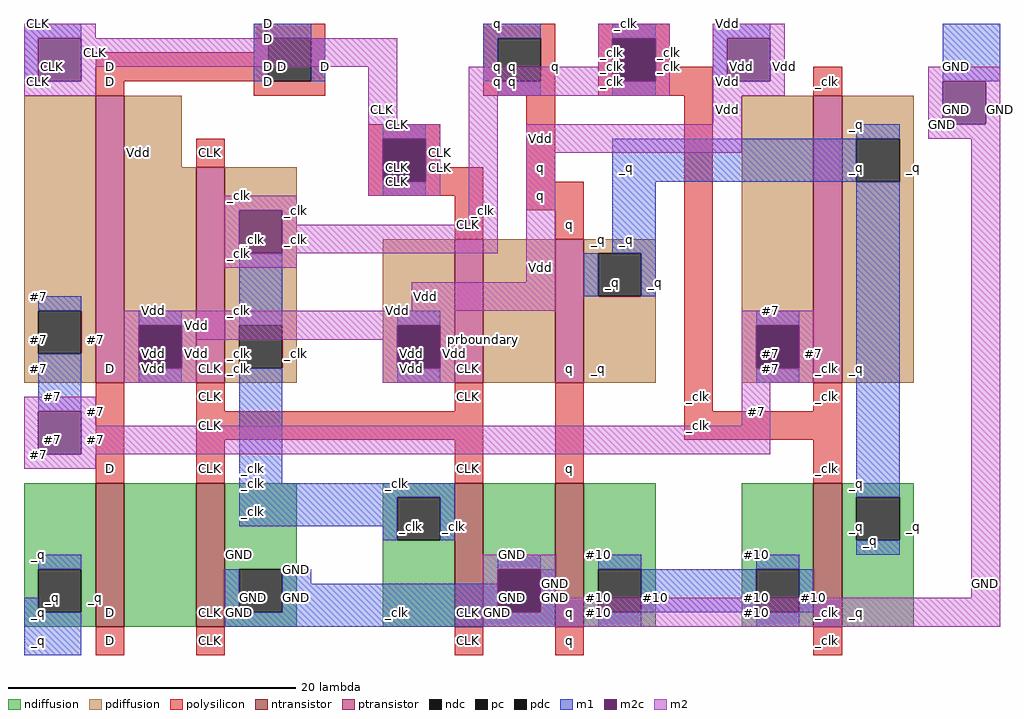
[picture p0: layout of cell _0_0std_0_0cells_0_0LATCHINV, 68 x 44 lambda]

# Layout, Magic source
magic
tech sky130l
<< ndiffusion >>
rect 8 10 13 16
rect 8 7 9 10
rect 12 7 13 10
rect 8 6 13 7
rect 15 6 20 16
rect 22 10 27 16
rect 22 7 23 10
rect 26 7 27 10
rect 22 6 27 7
rect 33 15 38 16
rect 33 12 34 15
rect 37 12 38 15
rect 33 6 38 12
rect 40 10 45 16
rect 40 7 41 10
rect 44 7 45 10
rect 40 6 45 7
rect 47 10 52 16
rect 47 7 48 10
rect 51 7 52 10
rect 47 6 52 7
rect 58 10 63 16
rect 58 7 59 10
rect 62 7 63 10
rect 58 6 63 7
rect 65 15 70 16
rect 65 12 66 15
rect 69 12 70 15
rect 65 6 70 12
<< ndc >>
rect 9 7 12 10
rect 23 7 26 10
rect 34 12 37 15
rect 41 7 44 10
rect 48 7 51 10
rect 59 7 62 10
rect 66 12 69 15
<< ntransistor >>
rect 13 6 15 16
rect 20 6 22 16
rect 38 6 40 16
rect 45 6 47 16
rect 63 6 65 16
<< pdiffusion >>
rect 8 28 13 43
rect 8 25 9 28
rect 12 25 13 28
rect 8 23 13 25
rect 15 38 19 43
rect 15 27 20 38
rect 15 24 16 27
rect 19 24 20 27
rect 15 23 20 24
rect 22 27 27 38
rect 22 24 23 27
rect 26 24 27 27
rect 22 23 27 24
rect 33 27 38 33
rect 33 24 34 27
rect 37 24 38 27
rect 33 23 38 24
rect 40 23 45 33
rect 47 32 52 33
rect 47 29 48 32
rect 51 29 52 32
rect 47 23 52 29
rect 58 27 63 43
rect 58 24 59 27
rect 62 24 63 27
rect 58 23 63 24
rect 65 40 70 43
rect 65 37 66 40
rect 69 37 70 40
rect 65 23 70 37
<< pdc >>
rect 9 25 12 28
rect 16 24 19 27
rect 23 24 26 27
rect 34 24 37 27
rect 48 29 51 32
rect 59 24 62 27
rect 66 37 69 40
<< ptransistor >>
rect 13 23 15 43
rect 20 23 22 38
rect 38 23 40 33
rect 45 23 47 33
rect 63 23 65 43
<< polysilicon >>
rect 24 47 29 48
rect 24 46 25 47
rect 13 44 25 46
rect 28 44 29 47
rect 13 43 15 44
rect 24 43 29 44
rect 40 47 45 48
rect 40 44 41 47
rect 44 44 45 47
rect 40 43 45 44
rect 48 47 53 48
rect 48 44 49 47
rect 52 45 53 47
rect 52 44 56 45
rect 48 43 56 44
rect 63 43 65 45
rect 32 40 37 41
rect 20 38 22 40
rect 32 37 33 40
rect 36 38 37 40
rect 36 37 40 38
rect 32 36 40 37
rect 38 33 40 36
rect 43 37 45 43
rect 43 35 47 37
rect 45 33 47 35
rect 13 16 15 23
rect 20 21 22 23
rect 38 21 40 23
rect 20 19 40 21
rect 20 16 22 19
rect 38 16 40 19
rect 45 16 47 23
rect 54 21 56 43
rect 63 21 65 23
rect 54 19 65 21
rect 63 16 65 19
rect 13 4 15 6
rect 20 4 22 6
rect 38 4 40 6
rect 45 4 47 6
rect 63 4 65 6
<< pc >>
rect 25 44 28 47
rect 41 44 44 47
rect 49 44 52 47
rect 33 37 36 40
<< m1 >>
rect 8 47 12 48
rect 8 44 9 47
rect 24 47 28 48
rect 40 47 44 48
rect 24 44 25 47
rect 28 44 29 47
rect 40 44 41 47
rect 41 43 44 44
rect 49 47 52 48
rect 56 47 60 48
rect 56 44 57 47
rect 72 44 76 48
rect 49 43 52 44
rect 33 40 36 41
rect 66 40 69 41
rect 33 36 36 37
rect 49 37 66 40
rect 49 32 52 37
rect 9 28 12 29
rect 9 21 12 25
rect 16 27 19 28
rect 16 23 19 24
rect 23 27 26 32
rect 47 29 48 32
rect 51 29 52 32
rect 23 16 26 24
rect 34 27 37 28
rect 34 23 37 24
rect 59 27 62 28
rect 59 23 62 24
rect 23 15 38 16
rect 23 13 34 15
rect 33 12 34 13
rect 37 12 38 15
rect 66 15 69 37
rect 66 11 69 12
rect 9 10 12 11
rect 41 10 44 11
rect 48 10 51 11
rect 59 10 62 11
rect 8 7 9 8
rect 8 4 12 7
rect 22 7 23 10
rect 26 9 28 10
rect 26 7 41 9
rect 44 7 45 10
rect 22 6 45 7
rect 51 7 59 10
rect 62 7 63 10
rect 48 6 51 7
rect 59 6 62 7
<< m2c >>
rect 9 44 12 47
rect 49 44 52 47
rect 57 44 60 47
rect 72 41 75 44
rect 33 37 36 40
rect 23 32 26 35
rect 16 24 19 27
rect 9 18 12 21
rect 34 24 37 27
rect 59 24 62 27
rect 41 7 44 10
<< m2 >>
rect 8 47 13 48
rect 48 47 53 48
rect 8 44 9 47
rect 12 45 34 47
rect 48 45 49 47
rect 12 44 13 45
rect 8 43 13 44
rect 32 41 34 45
rect 39 44 49 45
rect 52 44 53 47
rect 39 43 53 44
rect 56 47 61 48
rect 56 44 57 47
rect 60 44 61 47
rect 56 43 61 44
rect 71 44 76 45
rect 32 40 37 41
rect 32 37 33 40
rect 36 37 37 40
rect 32 36 37 37
rect 22 35 27 36
rect 22 32 23 35
rect 26 34 27 35
rect 39 34 41 43
rect 56 41 58 43
rect 26 32 41 34
rect 43 39 58 41
rect 71 41 72 44
rect 75 41 76 44
rect 71 40 76 41
rect 22 31 27 32
rect 43 30 45 39
rect 35 28 45 30
rect 15 27 38 28
rect 15 24 16 27
rect 19 26 34 27
rect 19 24 20 26
rect 15 23 20 24
rect 33 24 34 26
rect 37 24 38 27
rect 33 23 38 24
rect 58 27 63 28
rect 58 24 59 27
rect 62 24 63 27
rect 58 23 63 24
rect 8 21 13 22
rect 8 18 9 21
rect 12 20 13 21
rect 58 20 60 23
rect 12 18 60 20
rect 8 17 13 18
rect 40 10 45 11
rect 40 7 41 10
rect 44 8 45 10
rect 74 8 76 40
rect 44 7 76 8
rect 40 6 76 7
<< labels >>
rlabel space 0 0 80 52 6 prboundary
rlabel pdiffusion 70 38 70 38 3 _q
rlabel polysilicon 64 44 64 44 3 _clk
rlabel polysilicon 53 46 53 46 3 _clk
rlabel ndiffusion 70 13 70 13 3 _q
rlabel pdiffusion 66 24 66 24 3 _q
rlabel pdiffusion 66 38 66 38 3 _q
rlabel pdiffusion 66 41 66 41 3 _q
rlabel polysilicon 64 22 64 22 3 _clk
rlabel ptransistor 64 24 64 24 3 _clk
rlabel polysilicon 49 44 49 44 3 _clk
rlabel polysilicon 49 45 49 45 3 _clk
rlabel ndiffusion 66 7 66 7 3 _q
rlabel ndiffusion 66 13 66 13 3 _q
rlabel ndiffusion 66 16 66 16 3 _q
rlabel ndiffusion 59 8 59 8 3 #10
rlabel polysilicon 64 17 64 17 3 _clk
rlabel polysilicon 45 45 45 45 3 q
rlabel ntransistor 64 7 64 7 3 _clk
rlabel polysilicon 46 34 46 34 3 q
rlabel ndiffusion 59 7 59 7 3 #10
rlabel ndiffusion 59 11 59 11 3 #10
rlabel polysilicon 55 20 55 20 3 _clk
rlabel polysilicon 55 22 55 22 3 _clk
rlabel pdiffusion 48 24 48 24 3 _q
rlabel pdiffusion 48 33 48 33 3 _q
rlabel polysilicon 44 36 44 36 3 q
rlabel polysilicon 44 38 44 38 3 q
rlabel polysilicon 41 44 41 44 3 q
rlabel polysilicon 46 17 46 17 3 q
rlabel ptransistor 46 24 46 24 3 q
rlabel ndiffusion 48 7 48 7 3 #10
rlabel ndiffusion 48 8 48 8 3 #10
rlabel ndiffusion 48 11 48 11 3 #10
rlabel polysilicon 39 34 39 34 3 CLK
rlabel polysilicon 64 5 64 5 3 _clk
rlabel ntransistor 46 7 46 7 3 q
rlabel polysilicon 39 17 39 17 3 CLK
rlabel polysilicon 39 22 39 22 3 CLK
rlabel ptransistor 39 24 39 24 3 CLK
rlabel polysilicon 37 39 37 39 3 CLK
rlabel ndiffusion 34 16 34 16 3 _clk
rlabel pdiffusion 34 28 34 28 3 Vdd
rlabel polysilicon 46 5 46 5 3 q
rlabel ntransistor 39 7 39 7 3 CLK
rlabel ndiffusion 34 7 34 7 3 _clk
rlabel pdiffusion 27 25 27 25 3 _clk
rlabel polysilicon 25 44 25 44 3 D
rlabel polysilicon 25 47 25 47 3 D
rlabel polysilicon 39 5 39 5 3 CLK
rlabel ndiffusion 23 11 23 11 3 GND
rlabel pdiffusion 23 24 23 24 3 _clk
rlabel pdiffusion 23 25 23 25 3 _clk
rlabel pdiffusion 23 28 23 28 3 _clk
rlabel polysilicon 21 39 21 39 3 CLK
rlabel polysilicon 21 5 21 5 3 CLK
rlabel ntransistor 21 7 21 7 3 CLK
rlabel polysilicon 21 17 21 17 3 CLK
rlabel polysilicon 21 20 21 20 3 CLK
rlabel polysilicon 21 22 21 22 3 CLK
rlabel ptransistor 21 24 21 24 3 CLK
rlabel ndiffusion 13 8 13 8 3 _q
rlabel pdiffusion 16 39 16 39 3 Vdd
rlabel pdiffusion 13 26 13 26 3 #7
rlabel polysilicon 14 5 14 5 3 D
rlabel ntransistor 14 7 14 7 3 D
rlabel polysilicon 14 17 14 17 3 D
rlabel ptransistor 14 24 14 24 3 D
rlabel polysilicon 14 44 14 44 3 D
rlabel polysilicon 14 45 14 45 3 D
rlabel ndiffusion 9 7 9 7 3 _q
rlabel ndiffusion 9 11 9 11 3 _q
rlabel pdiffusion 9 24 9 24 3 #7
rlabel pdiffusion 9 26 9 26 3 #7
rlabel pdiffusion 9 29 9 29 3 #7
rlabel m1 73 45 73 45 3 GND
rlabel m1 67 41 67 41 3 _q
port 1 e
rlabel ndc 67 13 67 13 3 _q
port 1 e
rlabel m1 67 16 67 16 3 _q
port 1 e
rlabel pdc 67 38 67 38 3 _q
port 1 e
rlabel m1 60 24 60 24 3 #7
rlabel m1 60 28 60 28 3 #7
rlabel m1 52 30 52 30 3 _q
port 1 e
rlabel m1 50 33 50 33 3 _q
port 1 e
rlabel m1 50 38 50 38 3 _q
port 1 e
rlabel m1 50 44 50 44 3 _clk
rlabel m1 50 48 50 48 3 _clk
rlabel m1 67 12 67 12 3 _q
port 1 e
rlabel pdc 49 30 49 30 3 _q
port 1 e
rlabel m1 48 30 48 30 3 _q
port 1 e
rlabel m1 63 8 63 8 3 #10
rlabel m1 42 44 42 44 3 q
port 2 e
rlabel ndc 60 8 60 8 3 #10
rlabel m1 60 11 60 11 3 #10
rlabel m1 52 8 52 8 3 #10
rlabel ndc 49 8 49 8 3 #10
rlabel m1 49 11 49 11 3 #10
rlabel m1 42 11 42 11 3 GND
rlabel m1 38 13 38 13 3 _clk
rlabel ndc 35 13 35 13 3 _clk
rlabel m1 34 13 34 13 3 _clk
rlabel pc 42 45 42 45 3 q
port 2 e
rlabel m1 35 24 35 24 3 Vdd
rlabel m1 35 28 35 28 3 Vdd
rlabel m1 29 45 29 45 3 D
port 3 e
rlabel m1 41 45 41 45 3 q
port 2 e
rlabel m1 41 48 41 48 3 q
port 2 e
rlabel m1 34 37 34 37 3 CLK
port 4 e
rlabel m1 34 41 34 41 3 CLK
port 4 e
rlabel pc 26 45 26 45 3 D
port 3 e
rlabel m1 60 7 60 7 3 #10
rlabel m1 27 8 27 8 3 GND
rlabel m1 27 10 27 10 3 GND
rlabel m1 25 45 25 45 3 D
port 3 e
rlabel m1 25 48 25 48 3 D
port 3 e
rlabel ndc 24 8 24 8 3 GND
rlabel m1 24 14 24 14 3 _clk
rlabel m1 24 16 24 16 3 _clk
rlabel m1 24 17 24 17 3 _clk
rlabel pdc 24 25 24 25 3 _clk
rlabel m1 24 28 24 28 3 _clk
rlabel m1 49 7 49 7 3 #10
rlabel m1 23 8 23 8 3 GND
rlabel m1 17 24 17 24 3 Vdd
rlabel m1 17 28 17 28 3 Vdd
rlabel m1 23 7 23 7 3 GND
rlabel ndc 10 8 10 8 3 _q
port 1 e
rlabel m1 10 11 10 11 3 _q
port 1 e
rlabel m1 10 22 10 22 3 #7
rlabel pdc 10 26 10 26 3 #7
rlabel m1 10 29 10 29 3 #7
rlabel m1 9 5 9 5 3 _q
port 1 e
rlabel m1 9 8 9 8 3 _q
port 1 e
rlabel m2 76 42 76 42 3 GND
rlabel m2c 73 42 73 42 3 GND
rlabel m2 72 42 72 42 3 GND
rlabel m2 72 41 72 41 3 GND
rlabel m2 72 45 72 45 3 GND
rlabel m2 57 42 57 42 3 Vdd
rlabel m2 63 25 63 25 3 #7
rlabel m2 44 40 44 40 3 Vdd
rlabel m2 61 45 61 45 3 Vdd
rlabel m2c 60 25 60 25 3 #7
rlabel m2c 58 45 58 45 3 Vdd
rlabel m2 59 25 59 25 3 #7
rlabel m2 59 28 59 28 3 #7
rlabel m2 40 35 40 35 3 _clk
rlabel m2 57 45 57 45 3 Vdd
rlabel m2 75 9 75 9 3 GND
rlabel m2 44 31 44 31 3 Vdd
rlabel m2 59 21 59 21 3 #7
rlabel m2 59 24 59 24 3 #7
rlabel m2 57 44 57 44 3 Vdd
rlabel m2 53 45 53 45 3 _clk
rlabel m2c 50 45 50 45 3 _clk
rlabel m2 38 25 38 25 3 Vdd
rlabel m2 36 29 36 29 3 Vdd
rlabel m2 37 38 37 38 3 CLK
port 4 e
rlabel m2 40 44 40 44 3 _clk
rlabel m2 40 45 40 45 3 _clk
rlabel m2 45 8 45 8 3 GND
rlabel m2 45 9 45 9 3 GND
rlabel m2c 35 25 35 25 3 Vdd
rlabel m2c 34 38 34 38 3 CLK
port 4 e
rlabel m2c 42 8 42 8 3 GND
rlabel m2 34 24 34 24 3 Vdd
rlabel m2 34 25 34 25 3 Vdd
rlabel m2 27 33 27 33 3 _clk
rlabel m2 27 35 27 35 3 _clk
rlabel m2 33 37 33 37 3 CLK
port 4 e
rlabel m2 33 38 33 38 3 CLK
port 4 e
rlabel m2 33 41 33 41 3 CLK
port 4 e
rlabel m2 33 42 33 42 3 CLK
port 4 e
rlabel m2 41 7 41 7 3 GND
rlabel m2 41 8 41 8 3 GND
rlabel m2 41 11 41 11 3 GND
rlabel m2c 24 33 24 33 3 _clk
rlabel m2 23 32 23 32 3 _clk
rlabel m2 23 33 23 33 3 _clk
rlabel m2 23 36 23 36 3 _clk
rlabel m2 20 25 20 25 3 Vdd
rlabel m2 20 27 20 27 3 Vdd
rlabel m2 49 46 49 46 3 _clk
rlabel m2 57 48 57 48 3 Vdd
rlabel m2c 17 25 17 25 3 Vdd
rlabel m2 13 19 13 19 3 #7
rlabel m2 13 21 13 21 3 #7
rlabel m2 16 24 16 24 3 Vdd
rlabel m2 16 25 16 25 3 Vdd
rlabel m2 16 28 16 28 3 Vdd
rlabel m2 13 45 13 45 3 CLK
port 4 e
rlabel m2 13 46 13 46 3 CLK
port 4 e
rlabel m2 49 48 49 48 3 _clk
rlabel m2c 10 19 10 19 3 #7
rlabel m2c 10 45 10 45 3 CLK
port 4 e
rlabel m2 9 18 9 18 3 #7
rlabel m2 9 19 9 19 3 #7
rlabel m2 9 22 9 22 3 #7
rlabel m2 9 44 9 44 3 CLK
port 4 e
rlabel m2 9 45 9 45 3 CLK
port 4 e
rlabel m2 9 48 9 48 3 CLK
port 4 e
<< end >>
